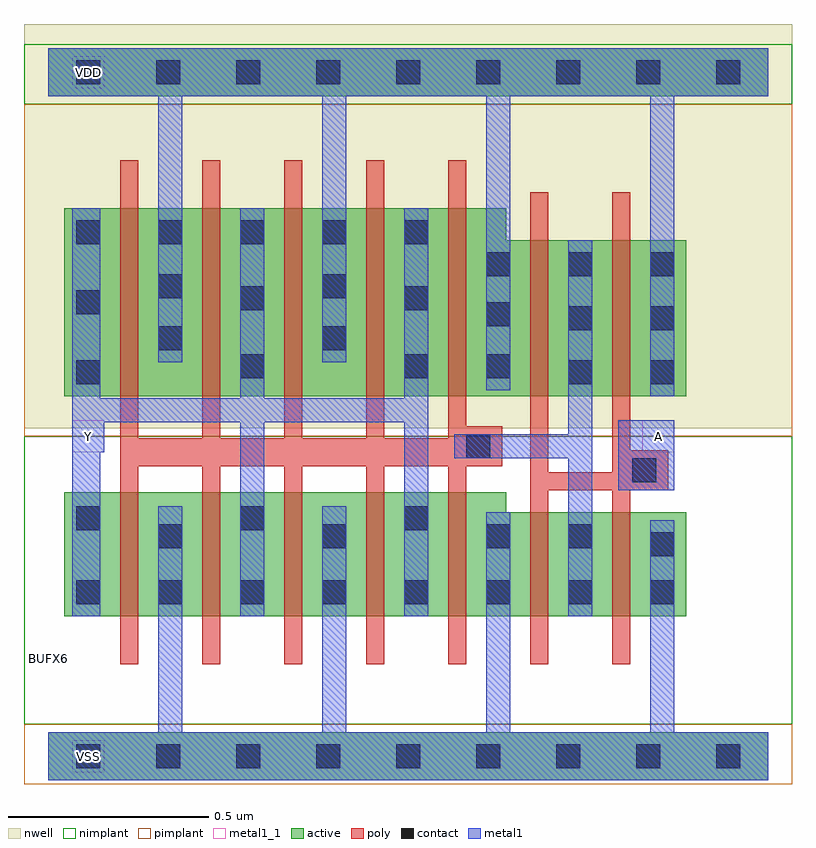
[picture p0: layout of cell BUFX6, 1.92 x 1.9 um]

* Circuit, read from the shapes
.subckt BUFX6 A VDD VSS Y
M1 VSS n1 Y VSS nfet w=0.31u l=0.045u m=5
M2 n1 A VSS VSS nfet w=0.26u l=0.045u m=2
M3 VDD n1 Y VDD pfet w=0.47u l=0.045u m=5
M4 n1 A VDD VDD pfet w=0.39u l=0.045u m=2
.ends

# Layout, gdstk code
import gdstk
lib = gdstk.Library(unit=1e-6, precision=5e-10)
def R(c, l, rs):  # rectangles x0, y0, x1, y1
    for r in rs: c.add(gdstk.rectangle(r[:2], r[2:], *l))
def A(c, l, x, y, w, h, nx, ny, dx, dy):  # array of equal rectangles
    R(c, l, [(x+i*dx, y+j*dy, x+i*dx+w, y+j*dy+h) for i in range(nx) for j in range(ny)])
def P(c, l, *ps):  # polygons
    for p in ps: c.add(gdstk.Polygon(p, *l))
active = (1, 0)
nwell = (2, 0)
poly = (3, 0)
nimplant = (4, 0)
pimplant = (5, 0)
contact = (6, 0)
metal1 = (7, 0)
metal1_1 = (7, 1)

bufx6 = lib.new_cell('BUFX6')
R(bufx6, active, [(0,-0.06,1.8,0.06), (0,1.65,1.8,1.77)])
P(bufx6, active, [(0.04,1.37),(1.145,1.37),(1.145,1.29),(1.595,1.29),(1.595,0.9),(0.04,0.9)],
  [(0.04,0.66),(1.145,0.66),(1.145,0.61),(1.595,0.61),(1.595,0.35),(0.04,0.35)])
R(bufx6, nwell, [(-0.06,0.82,1.86,1.83)])
P(bufx6, poly, [(1.55,0.765),(1.455,0.765),(1.455,1.41),(1.41,1.41),(1.41,0.71),(1.25,0.71),(1.25,1.41),(1.205,1.41),(1.205,0.23),(1.25,0.23),(1.25,0.665),(1.41,0.665),(1.41,0.23),(1.455,0.23),(1.455,0.665),(1.55,0.665)],
  [(1.135,0.825),(1.045,0.825),(1.045,1.49),(1,1.49),(1,0.795),(0.84,0.795),(0.84,1.49),(0.795,1.49),(0.795,0.795),(0.635,0.795),(0.635,1.49),(0.59,1.49),(0.59,0.795),(0.43,0.795),(0.43,1.49),(0.385,1.49),(0.385,0.795),(0.225,0.795),(0.225,1.49),(0.18,1.49),(0.18,0.23),(0.225,0.23),(0.225,0.725),(0.385,0.725),(0.385,0.23),(0.43,0.23),(0.43,0.725),(0.59,0.725),(0.59,0.23),(0.635,0.23),(0.635,0.725),(0.795,0.725),(0.795,0.23),(0.84,0.23),(0.84,0.725),(1,0.725),(1,0.23),(1.045,0.23),(1.045,0.725),(1.135,0.725)])
R(bufx6, nimplant, [(-0.06,0.08,1.86,0.8), (-0.06,1.63,1.86,1.78)])
R(bufx6, pimplant, [(-0.06,-0.07,1.86,0.08), (-0.06,0.8,1.86,1.63)])
A(bufx6, contact, 0.07, -0.03, 0.06, 0.06, 9, 2, 0.2, 1.71)
A(bufx6, contact, 0.07, 0.38, 0.06, 0.06, 8, 1, 0.205, 0)
A(bufx6, contact, 0.275, 0.52, 0.06, 0.06, 3, 1, 0.41, 0)
A(bufx6, contact, 0.07, 0.565, 0.06, 0.06, 3, 1, 0.41, 0)
A(bufx6, contact, 1.095, 1.2, 0.06, 0.06, 3, 1, 0.205, 0)
A(bufx6, contact, 0.07, 1.28, 0.06, 0.06, 5, 1, 0.205, 0)
R(bufx6, contact, [(1.505,0.5,1.565,0.56), (1.3,0.52,1.36,0.58), (1.46,0.685,1.52,0.745), (1.045,0.745,1.105,0.805), (0.07,0.93,0.13,0.99), (1.3,0.93,1.36,0.99), (1.505,0.93,1.565,0.99), (0.48,0.945,0.54,1.005), (0.89,0.945,0.95,1.005), (1.095,0.945,1.155,1.005), (0.275,1.015,0.335,1.075), (0.685,1.015,0.745,1.075), (1.3,1.065,1.36,1.125), (1.505,1.065,1.565,1.125), (1.095,1.075,1.155,1.135), (0.07,1.105,0.13,1.165), (0.48,1.115,0.54,1.175), (0.89,1.115,0.95,1.175), (0.275,1.145,0.335,1.205), (0.685,1.145,0.745,1.205)])
R(bufx6, metal1, [(1.425,0.665,1.565,0.84)])
P(bufx6, metal1, [(1.8,0.06),(1.565,0.06),(1.565,0.59),(1.505,0.59),(1.505,0.06),(1.155,0.06),(1.155,0.61),(1.095,0.61),(1.095,0.06),(0.745,0.06),(0.745,0.625),(0.685,0.625),(0.685,0.06),(0.335,0.06),(0.335,0.625),(0.275,0.625),(0.275,0.06),(0,0.06),(0,-0.06),(1.8,-0.06)],
  [(1.8,1.77),(0,1.77),(0,1.65),(0.275,1.65),(0.275,0.985),(0.335,0.985),(0.335,1.65),(0.685,1.65),(0.685,0.985),(0.745,0.985),(0.745,1.65),(1.095,1.65),(1.095,0.915),(1.155,0.915),(1.155,1.65),(1.505,1.65),(1.505,0.9),(1.565,0.9),(1.565,1.65),(1.8,1.65)],
  [(1.36,1.29),(1.3,1.29),(1.3,0.805),(1.015,0.805),(1.015,0.745),(1.3,0.745),(1.3,0.35),(1.36,0.35)],
  [(0.95,1.37),(0.89,1.37),(0.89,0.895),(0.54,0.895),(0.54,1.37),(0.48,1.37),(0.48,0.895),(0.13,0.895),(0.13,1.37),(0.06,1.37),(0.06,0.35),(0.13,0.35),(0.13,0.76),(0.14,0.76),(0.14,0.835),(0.48,0.835),(0.48,0.35),(0.54,0.35),(0.54,0.835),(0.89,0.835),(0.89,0.35),(0.95,0.35)])
R(bufx6, metal1_1, [(0.06,-0.04,0.14,0.04), (0.06,0.76,0.14,0.84), (1.485,0.76,1.565,0.84), (0.06,1.67,0.14,1.75)])
bufx6.add(gdstk.Label('VSS', (0.1,0), layer=7, texttype=1))
bufx6.add(gdstk.Label('VDD', (0.1,1.71), layer=7, texttype=1))
bufx6.add(gdstk.Label('A', (1.525,0.8), layer=7, texttype=1))
bufx6.add(gdstk.Label('Y', (0.1,0.8), layer=7, texttype=1))
bufx6.add(gdstk.Label('BUFX6', (0,0.245), layer=63, texttype=0))

lib.write_gds('BUFX6.gds')
